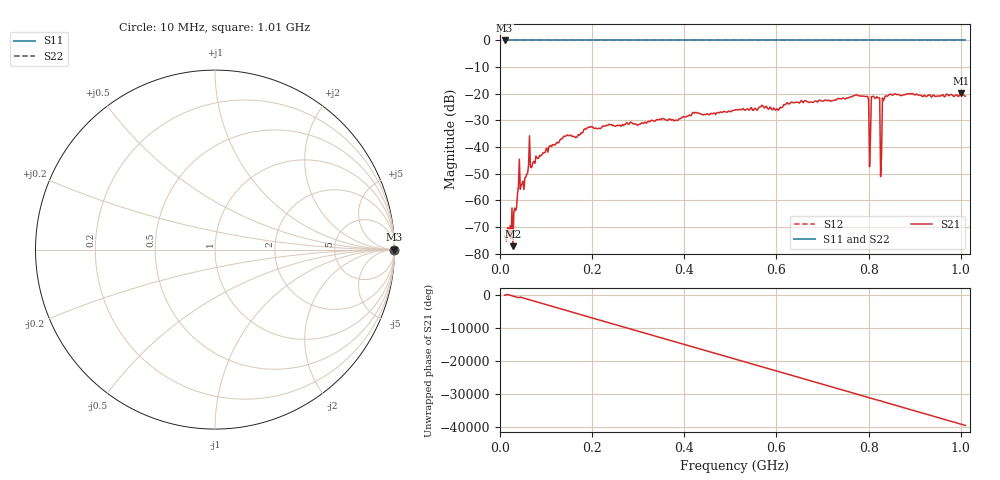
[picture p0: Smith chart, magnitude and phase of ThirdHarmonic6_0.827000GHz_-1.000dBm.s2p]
! 8/16/2025 3:28:33 AM
! C:\ANRITSUVNA\TEMP\TEMP.S2P
! CHANNEL.1
! TR.MEASUREMENT
! RAW.DATA
! RF.CORRECTION.OFF
! AVERAGING.OFF
! IF.BANDWIDTH: 5KHZ
! SWEEPTYPE:  FREQ.SWEEP(Linear)
! Reference Plane Port Info
! PORT:  PORT1  PORT2
! DISTANCE:  0  m  0  m
! TIME:  0  s  0  s
! PHASE.OFFSET:  0  deg.  0  deg.
! LOSS:  0  dB  0  dB
! REF.LOSS:  0  dB  0  dB
! REF.FREQ:  0  Hz  0  Hz
! Power Info
! POWER:  -20  dBm  -20  dBm
! EFF.POWER:  -20  dBm  -20  dBm
! SOURCE.ATTEN:  0  dB  0  dB
! TEST.ATTEN:  0  dB  0  dB
# GHZ S RI R 50.0
! FREQ.GHZ  S11RE  S11IM  S21RE  S21IM  S12RE  S12IM  S22RE  S22IM
!; PortSelection: Port_12
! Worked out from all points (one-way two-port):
!   501 points, 10 MHz to 1.01 GHz, reference 50 ohm
!   highest |S21| = -19.81 dB at 1 GHz (marker M1); lowest = -77.1 dB at 28 MHz (marker M2)
!   lowest |S11| = 0.0 dB at 10 MHz (marker M3)
!   |S11| at or under -10 dB: nowhere
!   |S22| runs from 0.0 to 0.0 dB; largest |S21 - S12| = 1.1
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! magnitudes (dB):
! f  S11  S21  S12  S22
! 10 MHz  0.0  -73.1  0.0  0.0
! 28 MHz  0.0  -77.1  0.0  0.0
! 42 MHz  0.0  -44.5  0.0  0.0
! 56 MHz  0.0  -51.2  0.0  0.0
! 66 MHz  0.0  -47.3  0.0  0.0
! 178 MHz  0.0  -34.7  0.0  0.0
! 344 MHz  0.0  -29.7  0.0  0.0
! 510 MHz  0.0  -26.1  0.0  0.0
! 678 MHz  0.0  -23.2  0.0  0.0
! 794 MHz  0.0  -21.0  0.0  0.0
! 796 MHz  0.0  -21.0  0.0  0.0
! 800 MHz  0.0  -22.3  0.0  0.0
! 804 MHz  0.0  -36.1  0.0  0.0
! 806 MHz  0.0  -21.1  0.0  0.0
! 810 MHz  0.0  -20.9  0.0  0.0
! 820 MHz  0.0  -21.5  0.0  0.0
! 824 MHz  0.0  -21.5  0.0  0.0
! 830 MHz  0.0  -21.6  0.0  0.0
! 834 MHz  0.0  -21.9  0.0  0.0
! 844 MHz  0.0  -20.4  0.0  0.0
! 1 GHz  0.0  -19.8  0.0  0.0
! 1.01 GHz  0.0  -20.9  0.0  0.0
